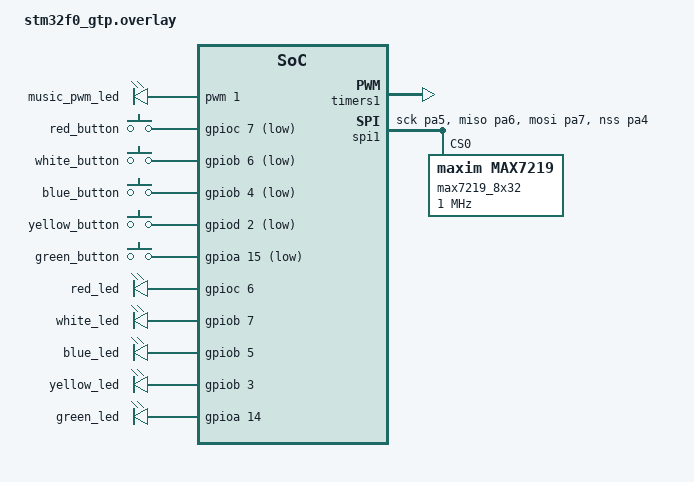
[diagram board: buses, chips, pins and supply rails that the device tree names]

/ {
	chosen {
		zephyr,display = &max7219_8x32;
	};

	aliases {
		buttonredpin = &red_button;
		buttonredled = &red_led;
		buttonwhitepin = &white_button;
		buttonwhiteled = &white_led;
		buttonbluepin = &blue_button;
		buttonblueled = &blue_led;
		buttonyellowpin = &yellow_button;
		buttonyellowled = &yellow_led;
		buttongreenpin = &green_button;
		buttongreenled = &green_led;
		pwmled0 = &music_pwm_led;
	};

	pwmleds: pwmleds {
        compatible = "pwm-leds";
        status = "okay";

        music_pwm_led: music_pwm_led {
            pwms = <&pwm 1 PWM_MSEC(20) PWM_POLARITY_NORMAL>;
        };
    };

	buttons {
		compatible = "gpio-keys";

		red_button: red_button {
			gpios = <&gpioc 7 (GPIO_PULL_UP | GPIO_ACTIVE_LOW)>;
		};

        white_button: white_button {
			gpios = <&gpiob 6 (GPIO_PULL_UP | GPIO_ACTIVE_LOW)>;
		};

		blue_button: blue_button {
			gpios = <&gpiob 4 (GPIO_PULL_UP | GPIO_ACTIVE_LOW)>;
		};

		yellow_button: yellow_button {
			gpios = <&gpiod 2 (GPIO_PULL_UP | GPIO_ACTIVE_LOW)>;
		};

		green_button: green_button {
			gpios = <&gpioa 15 (GPIO_PULL_UP | GPIO_ACTIVE_LOW)>;
		};
	};

	leds {
		red_led: red_led {
			gpios = <&gpioc 6 GPIO_ACTIVE_HIGH>;
		};

		white_led: white_led {
			gpios = <&gpiob 7 GPIO_ACTIVE_HIGH>;
		};

		blue_led: blue_led {
			gpios = <&gpiob 5 GPIO_ACTIVE_HIGH>;
		};

		yellow_led: yellow_led {
			gpios = <&gpiob 3 GPIO_ACTIVE_HIGH>;
		};

		green_led: green_led {
			gpios = <&gpioa 14 GPIO_ACTIVE_HIGH>;
		};
	};
};

&gpiod {
	status = "okay";
};

&timers1 {
    status = "okay";
    pwm: pwm {
        compatible = "st,stm32-pwm";
        status = "okay";
        #pwm-cells = < 0x3 >;
        pinctrl-0 = <&tim1_ch1_pa8>;
        pinctrl-names = "default";
    };
};

&usart2 {
    status = "disabled";
};

&spi1 {
    pinctrl-0 = <&spi1_sck_pa5 &spi1_miso_pa6 &spi1_mosi_pa7 &spi1_nss_pa4>;
    pinctrl-names = "default";
    status = "okay";

    max7219_8x32: max7219@0 {
		compatible = "maxim,max7219";
		reg = <0>;
		spi-max-frequency = <1000000>;
		num-cascading = <4>;
		intensity = <1>;
		scan-limit = <7>;
	};
};
